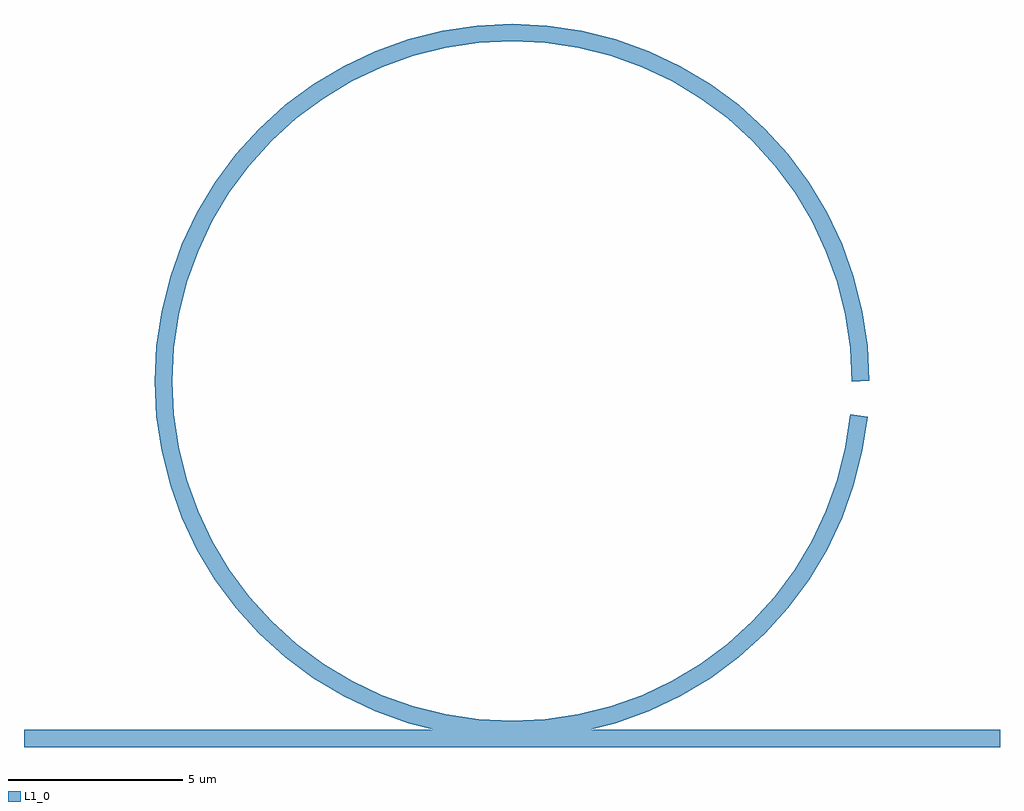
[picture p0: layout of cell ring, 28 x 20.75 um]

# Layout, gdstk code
import gdstk
lib = gdstk.Library(unit=1e-6, precision=1e-09)
L1_0 = (1, 0)

ring = lib.new_cell('ring')
ring.add(gdstk.FlexPath([(10,0),(9.952,0.98),(9.808,1.951),(9.569,2.903),(9.239,3.827),(8.819,4.714),(8.315,5.556),(7.73,6.344),(7.071,7.071),(6.344,7.73),(5.556,8.315),(4.714,8.819),(3.827,9.239),(2.903,9.569),(1.951,9.808),(0.98,9.952),(0,10),(-0.98,9.952),(-1.951,9.808),(-2.903,9.569),(-3.827,9.239),(-4.714,8.819),(-5.556,8.315),(-6.344,7.73),(-7.071,7.071),(-7.73,6.344),(-8.315,5.556),(-8.819,4.714),(-9.239,3.827),(-9.569,2.903),(-9.808,1.951),(-9.952,0.98),(-10,0),(-9.952,-0.98),(-9.808,-1.951),(-9.569,-2.903),(-9.239,-3.827),(-8.819,-4.714),(-8.315,-5.556),(-7.73,-6.344),(-7.071,-7.071),(-6.344,-7.73),(-5.556,-8.315),(-4.714,-8.819),(-3.827,-9.239),(-2.903,-9.569),(-1.951,-9.808),(-0.98,-9.952),(0,-10),(0.98,-9.952),(1.951,-9.808),(2.903,-9.569),(3.827,-9.239),(4.714,-8.819),(5.556,-8.315),(6.344,-7.73),(7.071,-7.071),(7.73,-6.344),(8.315,-5.556),(8.819,-4.714),(9.239,-3.827),(9.569,-2.903),(9.808,-1.951),(9.952,-0.98)], 0.5, ends="flush", simple_path=True, layer=1, datatype=0))  # L1_0
ring.add(gdstk.FlexPath([(-14,-10.25),(14,-10.25)], 0.5, ends="flush", simple_path=True, layer=1, datatype=0))  # L1_0

lib.write_gds('ring.gds')
